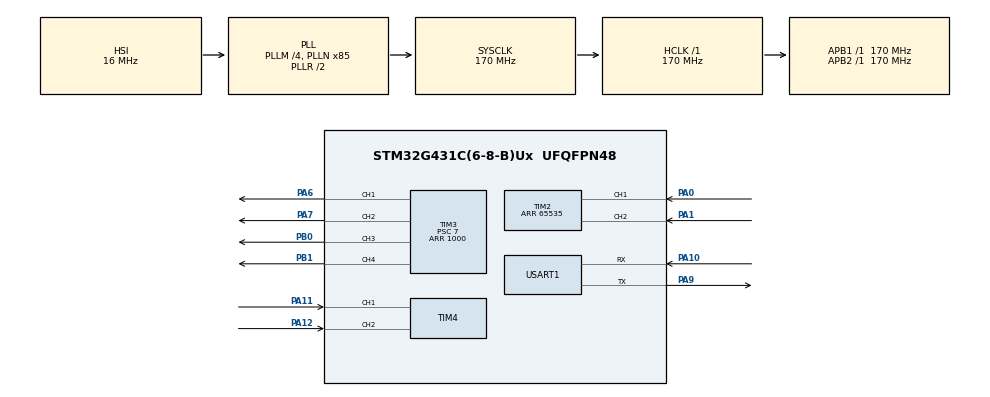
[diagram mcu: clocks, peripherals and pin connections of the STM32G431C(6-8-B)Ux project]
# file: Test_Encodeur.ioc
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Mcu.Family=STM32G4
Mcu.Name=STM32G431C(6-8-B)Ux
Mcu.Package=UFQFPN48
NVIC.PriorityGroup=NVIC_PRIORITYGROUP_4
NVIC.TIM6_DAC_IRQn=true\:0\:0\:false\:false\:true\:true\:true\:true
PA0.Signal=S_TIM2_CH1
PA1.Signal=S_TIM2_CH2
PA10.Mode=Asynchronous
PA10.Signal=USART1_RX
PA11.Signal=S_TIM4_CH1
PA12.Signal=S_TIM4_CH2
PA6.Signal=S_TIM3_CH1
PA7.Signal=S_TIM3_CH2
PA9.Mode=Asynchronous
PA9.Signal=USART1_TX
PB0.Signal=S_TIM3_CH3
PB1.Signal=S_TIM3_CH4
PB8-BOOT0.Signal=I2C1_SCL
PB9.Signal=I2C1_SDA
ProjectManager.HeapSize=0x200
ProjectManager.StackSize=0x400
ProjectManager.TargetToolchain=STM32CubeIDE
RCC.ADC12Freq_Value=170000000
RCC.AHBFreq_Value=170000000
RCC.APB1Freq_Value=170000000
RCC.APB1TimFreq_Value=170000000
RCC.APB2Freq_Value=170000000
RCC.APB2TimFreq_Value=170000000
RCC.CortexFreq_Value=170000000
RCC.EXTERNAL_CLOCK_VALUE=12288000
RCC.HCLKFreq_Value=170000000
RCC.HSE_VALUE=8000000
RCC.HSI48_VALUE=48000000
RCC.HSI_VALUE=16000000
RCC.LSE_VALUE=32768
RCC.PLLM=RCC_PLLM_DIV4
RCC.PLLN=85
RCC.SYSCLKFreq_VALUE=170000000
RCC.SYSCLKSource=RCC_SYSCLKSOURCE_PLLCLK
RCC.USBFreq_Value=170000000
RCC.VCOOutputFreq_Value=340000000
SH.S_TIM2_CH1.0=TIM2_CH1,Encoder_Interface
SH.S_TIM2_CH2.0=TIM2_CH2,Encoder_Interface
SH.S_TIM3_CH1.0=TIM3_CH1,PWM Generation1 CH1
SH.S_TIM3_CH2.0=TIM3_CH2,PWM Generation2 CH2
SH.S_TIM3_CH3.0=TIM3_CH3,PWM Generation3 CH3
SH.S_TIM3_CH4.0=TIM3_CH4,PWM Generation4 CH4
SH.S_TIM4_CH1.0=TIM4_CH1,Encoder_Interface
SH.S_TIM4_CH2.0=TIM4_CH2,Encoder_Interface
TIM2.EncoderMode=TIM_ENCODERMODE_TI12
TIM2.IC1Filter=4
TIM2.IC2Filter=4
TIM2.PeriodNoDither=65535
TIM3.Channel-PWM\ Generation1\ CH1=TIM_CHANNEL_1
TIM3.Channel-PWM\ Generation2\ CH2=TIM_CHANNEL_2
TIM3.Channel-PWM\ Generation3\ CH3=TIM_CHANNEL_3
TIM3.Channel-PWM\ Generation4\ CH4=TIM_CHANNEL_4
TIM3.PeriodNoDither=1000
TIM3.Prescaler=7
TIM4.EncoderMode=TIM_ENCODERMODE_TI12
TIM4.IC1Filter=4
TIM4.IC2Filter=4
TIM6.PeriodNoDither=9999
TIM6.Prescaler=99
USART1.VirtualMode-Asynchronous=VM_ASYNC
VP_SYS_VS_DBSignals.Mode=DisableDeadBatterySignals
VP_TIM6_VS_ClockSourceINT.Mode=Enable_Timer
board=custom

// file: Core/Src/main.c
/* USER CODE BEGIN Header */
/**
  ******************************************************************************
  * @file           : main.c
  * @brief          : Main program body
  ******************************************************************************
  * @attention
  *
  * Copyright (c) 2025 STMicroelectronics.
  * All rights reserved.
  *
  * This software is licensed under terms that can be found in the LICENSE file
  * in the root directory of this software component.
  * If no LICENSE file comes with this software, it is provided AS-IS.
  *
  ******************************************************************************
  */
/* USER CODE END Header */
#include "main.h"

/* USER CODE BEGIN Includes */
#include "motor.h"
#include "encoder.h"
#include "pid.h"
#include <stdio.h>
/* USER CODE END Includes */

TIM_HandleTypeDef htim2;
TIM_HandleTypeDef htim3;
TIM_HandleTypeDef htim4;
TIM_HandleTypeDef htim6;

UART_HandleTypeDef huart1;

/* USER CODE BEGIN PV */
// --- PARAMÈTRES DE TUNING PID (Modifiables en Live Watch) ---
// Mise à jour pour l'échelle PWM 0-1000
volatile float TUNING_Kp = 50.0f;   // Gain Proportionnel (Augmenté x25)
volatile float TUNING_Ki = 200.0f;  // Gain Intégral (Augmenté x20) -> Passé à 200 pour réduire l'erreur statique
volatile float TUNING_Kd = 0.0f;    // Gain Dérivé
volatile float TUNING_TARGET = 5.0f; // Consigne réduite à 5 rad/s pour éviter la saturation (Max mesuré ~9 rad/s)

// Instances PID
PID_Controller_t hPID_Mot1; // Asservi sur rad_s_motor2 (Moteur A)
PID_Controller_t hPID_Mot2; // Asservi sur rad_s_motor1 (Moteur B)
/* USER CODE END PV */

void SystemClock_Config(void);
static void MX_GPIO_Init(void);
static void MX_TIM4_Init(void);
static void MX_TIM2_Init(void);
static void MX_TIM6_Init(void);
static void MX_TIM3_Init(void);
static void MX_USART1_UART_Init(void);

/* USER CODE BEGIN 0 */
int __io_putchar(int ch)
{
	HAL_UART_Transmit(&huart1, (uint8_t*)&ch, 1, HAL_MAX_DELAY);
	return ch;
}

void HAL_TIM_PeriodElapsedCallback(TIM_HandleTypeDef *htim)
{
    // Délégation du calcul de vitesse au module encoder.c
    ENCODER_Speed_Calculation(htim);
}
/* USER CODE END 0 */

int main(void)
{

  /* MCU Configuration--------------------------------------------------------*/

  /* Reset of all peripherals, Initializes the Flash interface and the Systick. */
  HAL_Init();

  /* Configure the system clock */
  SystemClock_Config();

  /* Initialize all configured peripherals */
  MX_GPIO_Init();
  MX_TIM4_Init();
  MX_TIM2_Init();
  MX_TIM6_Init();
  MX_TIM3_Init();
  MX_USART1_UART_Init();
  /* USER CODE BEGIN 2 */
   //Initialisation des modules
 MOTOR_Init();   // Initialise et démarre le PWM (TIM3)
 ENCODER_Init(); // Initialise et démarre les encodeurs (TIM2, TIM4) et la base de temps (TIM6)

 // Initialisation du PID
 // PWM Max = 1000 (selon motor.c/h), dt = 0.01s (10ms)
 PID_Init(&hPID_Mot1, TUNING_Kp, TUNING_Ki, TUNING_Kd, 0.01f, -1000.0f, 1000.0f);
 PID_Init(&hPID_Mot2, TUNING_Kp, TUNING_Ki, TUNING_Kd, 0.01f, -1000.0f, 1000.0f);

 printf("Demarrage Tuning PID (Ki=200)...\r\n");
 HAL_Delay(2000);

 // Reset complet des encodeurs et PIDs
 ENCODER_Reset();
 PID_Reset(&hPID_Mot1);
 PID_Reset(&hPID_Mot2);

  /* USER CODE END 2 */

  /* Infinite loop */
  /* USER CODE BEGIN WHILE */
  uint32_t last_tick = HAL_GetTick();

  while (1)
  {
      // Boucle cadencée à 10ms (100Hz)
      if ((HAL_GetTick() - last_tick) >= 10)
      {
          last_tick = HAL_GetTick();

          // 1. Mise à jour des gains (si modifiés en Live Watch)
          hPID_Mot1.Kp = TUNING_Kp;
          hPID_Mot1.Ki = TUNING_Ki;
          hPID_Mot1.Kd = TUNING_Kd;

          hPID_Mot2.Kp = TUNING_Kp;
          hPID_Mot2.Ki = TUNING_Ki;
          hPID_Mot2.Kd = TUNING_Kd;

          // 2. Calcul PID
          // Moteur A (Droit) asservi sur rad_s_motor2
          float pwm_cmd_A = PID_Compute(&hPID_Mot1, TUNING_TARGET, rad_s_motor2);
          // Moteur B (Gauche) asservi sur rad_s_motor1
          float pwm_cmd_B = PID_Compute(&hPID_Mot2, TUNING_TARGET, rad_s_motor1);

          // 3. Application aux moteurs
          MOTOR_Set_Speed_A((int16_t)pwm_cmd_A);
          MOTOR_Set_Speed_B((int16_t)pwm_cmd_B);

          // 4. Sortie Série pour Traceur
          // Ajout de l'affichage de l'Intégrale PID A pour comprendre la saturation
          // Format: Target, Mes A, Mes B, Pwm A, Integral A
          printf("%.2f,%.2f,%.2f,%.0f,%.2f\r\n", TUNING_TARGET, rad_s_motor2, rad_s_motor1, pwm_cmd_A, hPID_Mot1.integral);
      }
    /* USER CODE END WHILE */

  }
}

void SystemClock_Config(void)
{
  RCC_OscInitTypeDef RCC_OscInitStruct = {0};
  RCC_ClkInitTypeDef RCC_ClkInitStruct = {0};

  /** Configure the main internal regulator output voltage
  */
  HAL_PWREx_ControlVoltageScaling(PWR_REGULATOR_VOLTAGE_SCALE1_BOOST);

  /** Initializes the RCC Oscillators according to the specified parameters
  * in the RCC_OscInitTypeDef structure.
  */
  RCC_OscInitStruct.OscillatorType = RCC_OSCILLATORTYPE_HSI;
  RCC_OscInitStruct.HSIState = RCC_HSI_ON;
  RCC_OscInitStruct.HSICalibrationValue = RCC_HSICALIBRATION_DEFAULT;
  RCC_OscInitStruct.PLL.PLLState = RCC_PLL_ON;
  RCC_OscInitStruct.PLL.PLLSource = RCC_PLLSOURCE_HSI;
  RCC_OscInitStruct.PLL.PLLM = RCC_PLLM_DIV4;
  RCC_OscInitStruct.PLL.PLLN = 85;
  RCC_OscInitStruct.PLL.PLLP = RCC_PLLP_DIV2;
  RCC_OscInitStruct.PLL.PLLQ = RCC_PLLQ_DIV2;
  RCC_OscInitStruct.PLL.PLLR = RCC_PLLR_DIV2;
  if (HAL_RCC_OscConfig(&RCC_OscInitStruct) != HAL_OK)
  {
    Error_Handler();
  }

  /** Initializes the CPU, AHB and APB buses clocks
  */
  RCC_ClkInitStruct.ClockType = RCC_CLOCKTYPE_HCLK|RCC_CLOCKTYPE_SYSCLK
                              |RCC_CLOCKTYPE_PCLK1|RCC_CLOCKTYPE_PCLK2;
  RCC_ClkInitStruct.SYSCLKSource = RCC_SYSCLKSOURCE_PLLCLK;
  RCC_ClkInitStruct.AHBCLKDivider = RCC_SYSCLK_DIV1;
  RCC_ClkInitStruct.APB1CLKDivider = RCC_HCLK_DIV1;
  RCC_ClkInitStruct.APB2CLKDivider = RCC_HCLK_DIV1;

  if (HAL_RCC_ClockConfig(&RCC_ClkInitStruct, FLASH_LATENCY_4) != HAL_OK)
  {
    Error_Handler();
  }
}

static void MX_TIM2_Init(void)
{

  TIM_Encoder_InitTypeDef sConfig = {0};
  TIM_MasterConfigTypeDef sMasterConfig = {0};

  htim2.Instance = TIM2;
  htim2.Init.Prescaler = 0;
  htim2.Init.CounterMode = TIM_COUNTERMODE_UP;
  htim2.Init.Period = 65535;
  htim2.Init.ClockDivision = TIM_CLOCKDIVISION_DIV1;
  htim2.Init.AutoReloadPreload = TIM_AUTORELOAD_PRELOAD_DISABLE;
  sConfig.EncoderMode = TIM_ENCODERMODE_TI12;
  sConfig.IC1Polarity = TIM_ICPOLARITY_RISING;
  sConfig.IC1Selection = TIM_ICSELECTION_DIRECTTI;
  sConfig.IC1Prescaler = TIM_ICPSC_DIV1;
  sConfig.IC1Filter = 4;
  sConfig.IC2Polarity = TIM_ICPOLARITY_RISING;
  sConfig.IC2Selection = TIM_ICSELECTION_DIRECTTI;
  sConfig.IC2Prescaler = TIM_ICPSC_DIV1;
  sConfig.IC2Filter = 4;
  if (HAL_TIM_Encoder_Init(&htim2, &sConfig) != HAL_OK)
  {
    Error_Handler();
  }
  sMasterConfig.MasterOutputTrigger = TIM_TRGO_RESET;
  sMasterConfig.MasterSlaveMode = TIM_MASTERSLAVEMODE_DISABLE;
  if (HAL_TIMEx_MasterConfigSynchronization(&htim2, &sMasterConfig) != HAL_OK)
  {
    Error_Handler();
  }

}

static void MX_TIM3_Init(void)
{

  TIM_MasterConfigTypeDef sMasterConfig = {0};
  TIM_OC_InitTypeDef sConfigOC = {0};

  htim3.Instance = TIM3;
  htim3.Init.Prescaler = 7;
  htim3.Init.CounterMode = TIM_COUNTERMODE_UP;
  htim3.Init.Period = 1000;
  htim3.Init.ClockDivision = TIM_CLOCKDIVISION_DIV1;
  htim3.Init.AutoReloadPreload = TIM_AUTORELOAD_PRELOAD_DISABLE;
  if (HAL_TIM_PWM_Init(&htim3) != HAL_OK)
  {
    Error_Handler();
  }
  sMasterConfig.MasterOutputTrigger = TIM_TRGO_RESET;
  sMasterConfig.MasterSlaveMode = TIM_MASTERSLAVEMODE_DISABLE;
  if (HAL_TIMEx_MasterConfigSynchronization(&htim3, &sMasterConfig) != HAL_OK)
  {
    Error_Handler();
  }
  sConfigOC.OCMode = TIM_OCMODE_PWM1;
  sConfigOC.Pulse = 0;
  sConfigOC.OCPolarity = TIM_OCPOLARITY_HIGH;
  sConfigOC.OCFastMode = TIM_OCFAST_DISABLE;
  if (HAL_TIM_PWM_ConfigChannel(&htim3, &sConfigOC, TIM_CHANNEL_1) != HAL_OK)
  {
    Error_Handler();
  }
  if (HAL_TIM_PWM_ConfigChannel(&htim3, &sConfigOC, TIM_CHANNEL_2) != HAL_OK)
  {
    Error_Handler();
  }
  if (HAL_TIM_PWM_ConfigChannel(&htim3, &sConfigOC, TIM_CHANNEL_3) != HAL_OK)
  {
    Error_Handler();
  }
  if (HAL_TIM_PWM_ConfigChannel(&htim3, &sConfigOC, TIM_CHANNEL_4) != HAL_OK)
  {
    Error_Handler();
  }
  HAL_TIM_MspPostInit(&htim3);

}

static void MX_TIM4_Init(void)
{

  TIM_Encoder_InitTypeDef sConfig = {0};
  TIM_MasterConfigTypeDef sMasterConfig = {0};

  htim4.Instance = TIM4;
  htim4.Init.Prescaler = 0;
  htim4.Init.CounterMode = TIM_COUNTERMODE_UP;
  htim4.Init.Period = 65535;
  htim4.Init.ClockDivision = TIM_CLOCKDIVISION_DIV1;
  htim4.Init.AutoReloadPreload = TIM_AUTORELOAD_PRELOAD_DISABLE;
  sConfig.EncoderMode = TIM_ENCODERMODE_TI12;
  sConfig.IC1Polarity = TIM_ICPOLARITY_RISING;
  sConfig.IC1Selection = TIM_ICSELECTION_DIRECTTI;
  sConfig.IC1Prescaler = TIM_ICPSC_DIV1;
  sConfig.IC1Filter = 4;
  sConfig.IC2Polarity = TIM_ICPOLARITY_RISING;
  sConfig.IC2Selection = TIM_ICSELECTION_DIRECTTI;
  sConfig.IC2Prescaler = TIM_ICPSC_DIV1;
  sConfig.IC2Filter = 4;
  if (HAL_TIM_Encoder_Init(&htim4, &sConfig) != HAL_OK)
  {
    Error_Handler();
  }
  sMasterConfig.MasterOutputTrigger = TIM_TRGO_RESET;
  sMasterConfig.MasterSlaveMode = TIM_MASTERSLAVEMODE_DISABLE;
  if (HAL_TIMEx_MasterConfigSynchronization(&htim4, &sMasterConfig) != HAL_OK)
  {
    Error_Handler();
  }

}

static void MX_TIM6_Init(void)
{

  TIM_MasterConfigTypeDef sMasterConfig = {0};

  htim6.Instance = TIM6;
  htim6.Init.Prescaler = 99;
  htim6.Init.CounterMode = TIM_COUNTERMODE_UP;
  htim6.Init.Period = 9999;
  htim6.Init.AutoReloadPreload = TIM_AUTORELOAD_PRELOAD_DISABLE;
  if (HAL_TIM_Base_Init(&htim6) != HAL_OK)
  {
    Error_Handler();
  }
  sMasterConfig.MasterOutputTrigger = TIM_TRGO_RESET;
  sMasterConfig.MasterSlaveMode = TIM_MASTERSLAVEMODE_DISABLE;
  if (HAL_TIMEx_MasterConfigSynchronization(&htim6, &sMasterConfig) != HAL_OK)
  {
    Error_Handler();
  }

}

static void MX_USART1_UART_Init(void)
{

  huart1.Instance = USART1;
  huart1.Init.BaudRate = 115200;
  huart1.Init.WordLength = UART_WORDLENGTH_8B;
  huart1.Init.StopBits = UART_STOPBITS_1;
  huart1.Init.Parity = UART_PARITY_NONE;
  huart1.Init.Mode = UART_MODE_TX_RX;
  huart1.Init.HwFlowCtl = UART_HWCONTROL_NONE;
  huart1.Init.OverSampling = UART_OVERSAMPLING_16;
  huart1.Init.OneBitSampling = UART_ONE_BIT_SAMPLE_DISABLE;
  huart1.Init.ClockPrescaler = UART_PRESCALER_DIV1;
  huart1.AdvancedInit.AdvFeatureInit = UART_ADVFEATURE_NO_INIT;
  if (HAL_UART_Init(&huart1) != HAL_OK)
  {
    Error_Handler();
  }
  if (HAL_UARTEx_SetTxFifoThreshold(&huart1, UART_TXFIFO_THRESHOLD_1_8) != HAL_OK)
  {
    Error_Handler();
  }
  if (HAL_UARTEx_SetRxFifoThreshold(&huart1, UART_RXFIFO_THRESHOLD_1_8) != HAL_OK)
  {
    Error_Handler();
  }
  if (HAL_UARTEx_DisableFifoMode(&huart1) != HAL_OK)
  {
    Error_Handler();
  }

}

static void MX_GPIO_Init(void)
{
  GPIO_InitTypeDef GPIO_InitStruct = {0};

  /* GPIO Ports Clock Enable */
  __HAL_RCC_GPIOA_CLK_ENABLE();
  __HAL_RCC_GPIOB_CLK_ENABLE();

  /*Configure GPIO pins : PB8 PB9 */
  GPIO_InitStruct.Pin = GPIO_PIN_8|GPIO_PIN_9;
  GPIO_InitStruct.Mode = GPIO_MODE_AF_OD;
  GPIO_InitStruct.Pull = GPIO_NOPULL;
  GPIO_InitStruct.Speed = GPIO_SPEED_FREQ_LOW;
  GPIO_InitStruct.Alternate = GPIO_AF4_I2C1;
  HAL_GPIO_Init(GPIOB, &GPIO_InitStruct);

}

void Error_Handler(void)
{
  __disable_irq();
  while (1)
  {
  }
}
